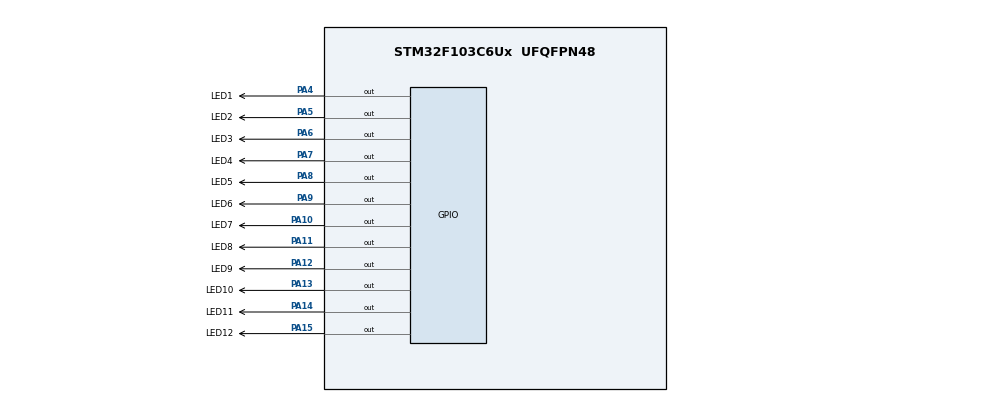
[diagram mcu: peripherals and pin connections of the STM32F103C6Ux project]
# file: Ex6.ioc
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Mcu.Family=STM32F1
Mcu.Name=STM32F103C6Ux
Mcu.Package=UFQFPN48
NVIC.PriorityGroup=NVIC_PRIORITYGROUP_4
PA10.GPIO_Label=LED7
PA10.Signal=GPIO_Output
PA11.GPIO_Label=LED8
PA11.Signal=GPIO_Output
PA12.GPIO_Label=LED9
PA12.Signal=GPIO_Output
PA13.GPIO_Label=LED10
PA13.Signal=GPIO_Output
PA14.GPIO_Label=LED11
PA14.Signal=GPIO_Output
PA15.GPIO_Label=LED12
PA15.Signal=GPIO_Output
PA4.GPIO_Label=LED1
PA4.Signal=GPIO_Output
PA5.GPIO_Label=LED2
PA5.Signal=GPIO_Output
PA6.GPIO_Label=LED3
PA6.Signal=GPIO_Output
PA7.GPIO_Label=LED4
PA7.Signal=GPIO_Output
PA8.GPIO_Label=LED5
PA8.Signal=GPIO_Output
PA9.GPIO_Label=LED6
PA9.Signal=GPIO_Output
ProjectManager.HeapSize=0x200
ProjectManager.StackSize=0x400
ProjectManager.TargetToolchain=STM32CubeIDE
RCC.APB1Freq_Value=8000000
RCC.APB2Freq_Value=8000000
VP_SYS_VS_ND.Mode=No_Debug
board=custom

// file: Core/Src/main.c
/* USER CODE BEGIN Header */
/**
  ******************************************************************************
  * @file           : main.c
  * @brief          : Main program body
  ******************************************************************************
  * @attention
  *
  * <h2><center>&copy; Copyright (c) 2026 STMicroelectronics.
  * All rights reserved.</center></h2>
  *
  * This software component is licensed by ST under BSD 3-Clause license,
  * the "License"; You may not use this file except in compliance with the
  * License. You may obtain a copy of the License at:
  *                        opensource.org/licenses/BSD-3-Clause
  *
  ******************************************************************************
  */
/* USER CODE END Header */
#include "main.h"

void SystemClock_Config(void);
static void MX_GPIO_Init(void);
/* USER CODE BEGIN PFP */
void setNumberOnClock (int number);
void clearNumberOnClock (int number);
void clearAllClock (void);
/* USER CODE END PFP */
/* USER CODE BEGIN 0 */
void setNumberOnClock(int number) {
    if (number == 0) {
        HAL_GPIO_WritePin(LED1_GPIO_Port, LED1_Pin, GPIO_PIN_SET);
    } else if (number == 1) {
        HAL_GPIO_WritePin(LED2_GPIO_Port, LED2_Pin, GPIO_PIN_SET);
    } else if (number == 2) {
        HAL_GPIO_WritePin(LED3_GPIO_Port, LED3_Pin, GPIO_PIN_SET);
    } else if (number == 3) {
        HAL_GPIO_WritePin(LED4_GPIO_Port, LED4_Pin, GPIO_PIN_SET);
    } else if (number == 4) {
        HAL_GPIO_WritePin(LED5_GPIO_Port, LED5_Pin, GPIO_PIN_SET);
    } else if (number == 5) {
        HAL_GPIO_WritePin(LED6_GPIO_Port, LED6_Pin, GPIO_PIN_SET);
    } else if (number == 6) {
        HAL_GPIO_WritePin(LED7_GPIO_Port, LED7_Pin, GPIO_PIN_SET);
    } else if (number == 7) {
        HAL_GPIO_WritePin(LED8_GPIO_Port, LED8_Pin, GPIO_PIN_SET);
    } else if (number == 8) {
        HAL_GPIO_WritePin(LED9_GPIO_Port, LED9_Pin, GPIO_PIN_SET);
    } else if (number == 9) {
        HAL_GPIO_WritePin(LED10_GPIO_Port, LED10_Pin, GPIO_PIN_SET);
    } else if (number == 10) {
        HAL_GPIO_WritePin(LED11_GPIO_Port, LED11_Pin, GPIO_PIN_SET);
    } else if (number == 11) {
        HAL_GPIO_WritePin(LED12_GPIO_Port, LED12_Pin, GPIO_PIN_SET);
    } else {
    	// Xử lý ngoại lệ nếu number truyền vào < 0 hoặc > 11
    }
}

void clearNumberOnClock(int number) {
    if (number == 0) {
        HAL_GPIO_WritePin(LED1_GPIO_Port, LED1_Pin, GPIO_PIN_RESET);
    } else if (number == 1) {
        HAL_GPIO_WritePin(LED2_GPIO_Port, LED2_Pin, GPIO_PIN_RESET);
    } else if (number == 2) {
        HAL_GPIO_WritePin(LED3_GPIO_Port, LED3_Pin, GPIO_PIN_RESET);
    } else if (number == 3) {
        HAL_GPIO_WritePin(LED4_GPIO_Port, LED4_Pin, GPIO_PIN_RESET);
    } else if (number == 4) {
        HAL_GPIO_WritePin(LED5_GPIO_Port, LED5_Pin, GPIO_PIN_RESET);
    } else if (number == 5) {
        HAL_GPIO_WritePin(LED6_GPIO_Port, LED6_Pin, GPIO_PIN_RESET);
    } else if (number == 6) {
        HAL_GPIO_WritePin(LED7_GPIO_Port, LED7_Pin, GPIO_PIN_RESET);
    } else if (number == 7) {
        HAL_GPIO_WritePin(LED8_GPIO_Port, LED8_Pin, GPIO_PIN_RESET);
    } else if (number == 8) {
        HAL_GPIO_WritePin(LED9_GPIO_Port, LED9_Pin, GPIO_PIN_RESET);
    } else if (number == 9) {
        HAL_GPIO_WritePin(LED10_GPIO_Port, LED10_Pin, GPIO_PIN_RESET);
    } else if (number == 10) {
        HAL_GPIO_WritePin(LED11_GPIO_Port, LED11_Pin, GPIO_PIN_RESET);
    } else if (number == 11) {
        HAL_GPIO_WritePin(LED12_GPIO_Port, LED12_Pin, GPIO_PIN_RESET);
    } else {
        /* Xử lý ngoại lệ nếu number truyền vào < 0 hoặc > 11 */
    }
}

void clearAllClock(void) {
    HAL_GPIO_WritePin(LED1_GPIO_Port, LED1_Pin, GPIO_PIN_RESET);
    HAL_GPIO_WritePin(LED2_GPIO_Port, LED2_Pin, GPIO_PIN_RESET);
    HAL_GPIO_WritePin(LED3_GPIO_Port, LED3_Pin, GPIO_PIN_RESET);
    HAL_GPIO_WritePin(LED4_GPIO_Port, LED4_Pin, GPIO_PIN_RESET);
    HAL_GPIO_WritePin(LED5_GPIO_Port, LED5_Pin, GPIO_PIN_RESET);
    HAL_GPIO_WritePin(LED6_GPIO_Port, LED6_Pin, GPIO_PIN_RESET);
    HAL_GPIO_WritePin(LED7_GPIO_Port, LED7_Pin, GPIO_PIN_RESET);
    HAL_GPIO_WritePin(LED8_GPIO_Port, LED8_Pin, GPIO_PIN_RESET);
    HAL_GPIO_WritePin(LED9_GPIO_Port, LED9_Pin, GPIO_PIN_RESET);
    HAL_GPIO_WritePin(LED10_GPIO_Port, LED10_Pin, GPIO_PIN_RESET);
    HAL_GPIO_WritePin(LED11_GPIO_Port, LED11_Pin, GPIO_PIN_RESET);
    HAL_GPIO_WritePin(LED12_GPIO_Port, LED12_Pin, GPIO_PIN_RESET);
}
/* USER CODE END 0 */

int main(void)
{

  /* MCU Configuration--------------------------------------------------------*/

  /* Reset of all peripherals, Initializes the Flash interface and the Systick. */
  HAL_Init();

  /* Configure the system clock */
  SystemClock_Config();

  /* Initialize all configured peripherals */
  MX_GPIO_Init();
  /* USER CODE BEGIN 2 */
  int led_index = 0;
  /* USER CODE END 2 */

  /* Infinite loop */
  /* USER CODE BEGIN WHILE */
  while (1)
  {
	  clearAllClock();

	  setNumberOnClock(led_index);

	  led_index++;
	  if (led_index >= 12) {
		  led_index = 0;
	  }

	  HAL_Delay(200);
    /* USER CODE END WHILE */

  }
}

void SystemClock_Config(void)
{
  RCC_OscInitTypeDef RCC_OscInitStruct = {0};
  RCC_ClkInitTypeDef RCC_ClkInitStruct = {0};

  /** Initializes the RCC Oscillators according to the specified parameters
  * in the RCC_OscInitTypeDef structure.
  */
  RCC_OscInitStruct.OscillatorType = RCC_OSCILLATORTYPE_HSI;
  RCC_OscInitStruct.HSIState = RCC_HSI_ON;
  RCC_OscInitStruct.HSICalibrationValue = RCC_HSICALIBRATION_DEFAULT;
  RCC_OscInitStruct.PLL.PLLState = RCC_PLL_NONE;
  if (HAL_RCC_OscConfig(&RCC_OscInitStruct) != HAL_OK)
  {
    Error_Handler();
  }
  /** Initializes the CPU, AHB and APB buses clocks
  */
  RCC_ClkInitStruct.ClockType = RCC_CLOCKTYPE_HCLK|RCC_CLOCKTYPE_SYSCLK
                              |RCC_CLOCKTYPE_PCLK1|RCC_CLOCKTYPE_PCLK2;
  RCC_ClkInitStruct.SYSCLKSource = RCC_SYSCLKSOURCE_HSI;
  RCC_ClkInitStruct.AHBCLKDivider = RCC_SYSCLK_DIV1;
  RCC_ClkInitStruct.APB1CLKDivider = RCC_HCLK_DIV1;
  RCC_ClkInitStruct.APB2CLKDivider = RCC_HCLK_DIV1;

  if (HAL_RCC_ClockConfig(&RCC_ClkInitStruct, FLASH_LATENCY_0) != HAL_OK)
  {
    Error_Handler();
  }
}

static void MX_GPIO_Init(void)
{
  GPIO_InitTypeDef GPIO_InitStruct = {0};

  /* GPIO Ports Clock Enable */
  __HAL_RCC_GPIOA_CLK_ENABLE();

  /*Configure GPIO pin Output Level */
  HAL_GPIO_WritePin(GPIOA, LED1_Pin|LED2_Pin|LED3_Pin|LED4_Pin
                          |LED5_Pin|LED6_Pin|LED7_Pin|LED8_Pin
                          |LED9_Pin|LED10_Pin|LED11_Pin|LED12_Pin, GPIO_PIN_RESET);

  /*Configure GPIO pins : LED1_Pin LED2_Pin LED3_Pin LED4_Pin
                           LED5_Pin LED6_Pin LED7_Pin LED8_Pin
                           LED9_Pin LED10_Pin LED11_Pin LED12_Pin */
  GPIO_InitStruct.Pin = LED1_Pin|LED2_Pin|LED3_Pin|LED4_Pin
                          |LED5_Pin|LED6_Pin|LED7_Pin|LED8_Pin
                          |LED9_Pin|LED10_Pin|LED11_Pin|LED12_Pin;
  GPIO_InitStruct.Mode = GPIO_MODE_OUTPUT_PP;
  GPIO_InitStruct.Pull = GPIO_NOPULL;
  GPIO_InitStruct.Speed = GPIO_SPEED_FREQ_LOW;
  HAL_GPIO_Init(GPIOA, &GPIO_InitStruct);

}

void Error_Handler(void)
{
  __disable_irq();
  while (1)
  {
  }
}

/************************ (C) COPYRIGHT STMicroelectronics *****END OF FILE****/
